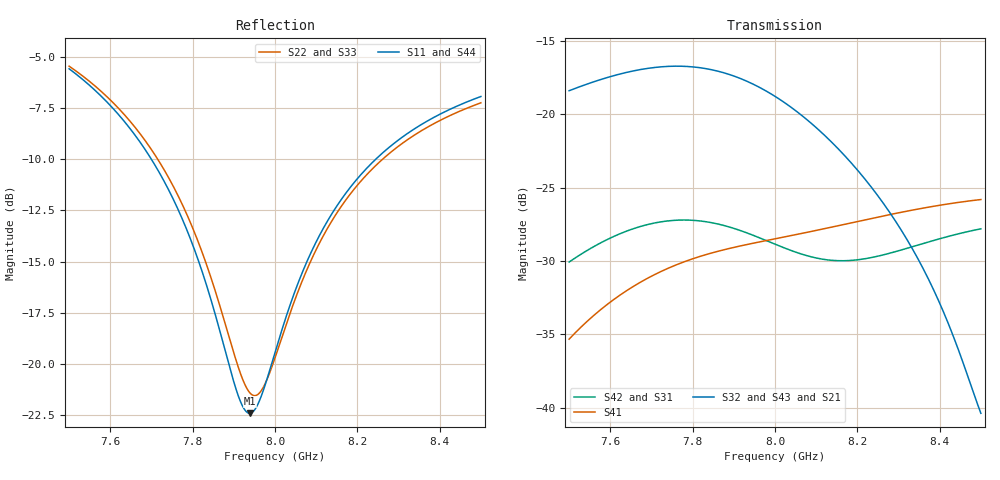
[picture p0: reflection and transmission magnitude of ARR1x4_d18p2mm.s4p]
! Touchstone file exported from HFSS 2025.1.0
!  File:  C:/Users/user/Documents/Ansoft/TFG_UWB-MIMO-Array.aedt
!  Generated:  05:35:00 PM Nov 20, 2026
!  Design:  ARR1x4_P01_MS2_dparam
!  Project:  TFG_UWB-MIMO-Array
!  Setup:  Setup_ch9
!  Solution:  Sweep_7p5_8p5
! Variables:
!  arr_d = 18.2mm
!  board_m = 13mm
!  board_x = 80.6mm
!  board_y = 26mm
!  cu_t = 0.035mm
!  line_w = 3.92mm
!  pad_xy = 22mm
!  pad_zn = 25mm
!  pad_zp = 33mm
!  patch_L = 7.322mm
!  patch_W = 11.421266mm
!  sub_h = 2.07mm
!  tr_l = 7.1mm
!  tr_w = 0.8mm
# GHz S MA R 50.000000
! Terminal data exported
! Port[1] = P1
! Port[2] = P2
! Port[3] = P3
! Port[4] = P4
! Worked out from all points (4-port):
!   1001 points, 7.5 GHz to 8.5 GHz, reference 50 ohm
!   strongest paths, dB at 7.5 GHz, 7.75 GHz, 8 GHz, 8.25 GHz, 8.5 GHz:
!     S32: -18.4, -16.7, -18.8, -25.6, -40.4
!     S43: -18.4, -17.0, -19.1, -25.6, -41.0
!     S21: -18.4, -17.0, -19.1, -25.7, -40.9
!     S41: -35.3, -30.4, -28.5, -27.0, -25.8
!     S42: -30.1, -27.2, -28.9, -29.7, -27.8
!     S31: -30.1, -27.2, -29.0, -30.0, -28.1
!   lowest |S11| = -22.4 dB at 7.939 GHz (marker M1), VSWR 1.16, Z = 57.7 + j2.78 ohm
!   |S11| at or under -10 dB: 7.699 GHz to 8.245 GHz (545.6 MHz wide, 6.84 % of centre)
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7.5  0.525 157.2  0.12 -41.4  0.03139 165.2  0.01714 -24.5
     0.12 -41.4  0.5328 158.3  0.1201 -39.1  0.03138 164.1
     0.03139 165.2  0.1201 -39.1  0.533 158.7  0.1204 -41.3
     0.01714 -24.5  0.03138 164.1  0.1204 -41.3  0.5242 156.7
7.736  0.2728 120.6  0.1411 -90.7  0.04322 93.6  0.02969 -106.9
       0.1411 -90.7  0.2915 121.6  0.1453 -88.5  0.04325 92.5
       0.04322 93.6  0.1453 -88.5  0.2903 121.9  0.1417 -90.8
       0.02969 -106.9  0.04325 92.5  0.1417 -90.8  0.2725 120.0
7.939  0.07584 18.4  0.1233 -139.2  0.03874 14.2  0.03617 166.1
       0.1233 -139.2  0.08507 29.2  0.128 -137.7  0.03908 12.9
       0.03874 14.2  0.128 -137.7  0.08469 27.4  0.124 -139.6
       0.03617 166.1  0.03908 12.9  0.124 -139.6  0.07686 18.1
8.111  0.2086 -71.9  0.08463 -178.1  0.03127 -65.4  0.0405 93.5
       0.08463 -178.1  0.2 -69.1  0.08713 -176.7  0.03217 -66.7
       0.03127 -65.4  0.08713 -176.7  0.2038 -69.4  0.08519 -179.1
       0.0405 93.5  0.03217 -66.7  0.08519 -179.1  0.208 -72.0
8.289  0.3453 -99.8  0.04386 148.1  0.03264 -144.0  0.04581 30.2
       0.04386 148.1  0.3334 -98.9  0.04402 151.4  0.03393 -144.1
       0.03264 -144.0  0.04402 151.4  0.3373 -98.9  0.04431 145.7
       0.04581 30.2  0.03393 -144.1  0.04431 145.7  0.3434 -100.0
8.412  0.4122 -113.2  0.0213 131.2  0.03667 174.2  0.04927 -6.4
       0.0213 131.2  0.398 -112.5  0.02076 140.2  0.03806 174.5
       0.03667 174.2  0.02076 140.2  0.4013 -112.5  0.02163 125.9
       0.04927 -6.4  0.03806 174.5  0.02163 125.9  0.4095 -113.5
8.5  0.4493 -121.3  0.009021 132.7  0.03928 149.4  0.0512 -29.8
     0.009021 132.7  0.4337 -120.7  0.009587 156.9  0.04071 149.9
     0.03928 149.4  0.009587 156.9  0.4364 -120.7  0.008962 119.3
     0.0512 -29.8  0.04071 149.9  0.008962 119.3  0.4461 -121.6
